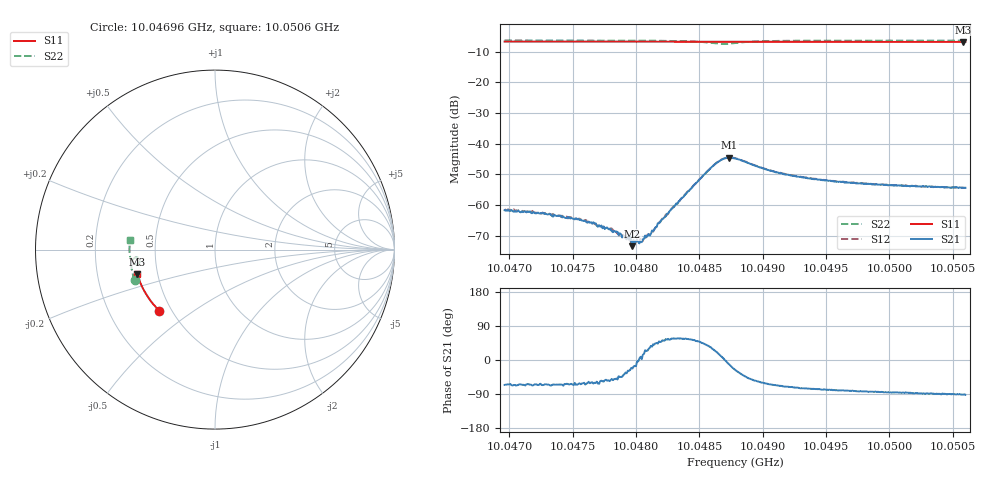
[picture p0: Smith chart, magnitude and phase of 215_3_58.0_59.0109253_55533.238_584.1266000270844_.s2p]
#  HZ  S  RI  R  50.00
! Rohde & Schwarz Vector Network Analyzer
! Rohde-Schwarz,ZNB20-2Port,1311601062101988,3.16
! Created: UTC 3/21/2024, 12:59:55 AM
! freq[Hz]  re:S11  im:S11  re:S21  im:S21  re:S12  im:S12  re:S22  im:S22
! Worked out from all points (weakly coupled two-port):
!   401 points, 10.04696 GHz to 10.0506 GHz, reference 50 ohm
!   highest |S21| = -44.51 dB at 10.04874 GHz (marker M1); lowest = -73.4 dB at 10.04797 GHz (marker M2)
!   lowest |S11| = -6.9 dB at 10.05058 GHz (marker M3), VSWR 2.66, Z = 19.2 - j6.67 ohm
!   |S11| at or under -10 dB: nowhere
!   |S22| runs from -7.5 to -6.4 dB; largest |S21 - S12| = 0.0004
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1.0046962e10  -0.3106 -0.3403  0.000339 -0.000752  0.000434 -0.000744  -0.4477 -0.1717
1.0047271e10  -0.3249 -0.3256  0.000307 -0.000678  0.000359 -0.000631  -0.4543 -0.1514
1.0047571e10  -0.3381 -0.3107  0.000261 -0.000497  0.000306 -0.000492  -0.4598 -0.1309
1.0047662e10  -0.3422 -0.3062  0.000247 -0.000463  0.000259 -0.000438  -0.4612 -0.1244
1.0047799e10  -0.3478 -0.2991  0.000243 -0.000324  0.000272 -0.000319  -0.4631 -0.1145
1.0047872e10  -0.3508 -0.2954  0.000246 -0.000247  0.00023 -0.000209  -0.4638 -0.1089
1.0047972e10  -0.355 -0.2901  0.000198 -8.23e-05  0.000264 -5.96e-05  -0.465 -0.1012
1.0047981e10  -0.3554 -0.2897  0.000257 -7.96e-05  0.000239 -5.21e-05  -0.465 -0.1005
1.0048044e10  -0.3579 -0.2863  0.000249 1.04e-05  0.000259 4.09e-05  -0.4655 -0.0954
1.0048126e10  -0.3611 -0.282  0.000314 0.000224  0.000279 0.000234  -0.4658 -0.0883
1.0048181e10  -0.3632 -0.2791  0.000335 0.000384  0.000325 0.000407  -0.466 -0.0835
1.004839e10  -0.3712 -0.2676  0.000825 0.00125  0.000743 0.00131  -0.4617 -0.0622
1.0048599e10  -0.3784 -0.2561  0.00361 0.00213  0.00349 0.00236  -0.4355 -0.0442
1.0048672e10  -0.3808 -0.252  0.00538 0.000917  0.00534 0.00124  -0.4206 -0.0537
1.0048735e10  -0.3829 -0.2488  0.00583 -0.0012  0.00588 -0.000865  -0.4201 -0.0707
1.0048781e10  -0.3845 -0.2463  0.00518 -0.00251  0.0054 -0.00219  -0.4277 -0.0794
1.004909e10  -0.3949 -0.2288  0.00142 -0.0032  0.00163 -0.00314  -0.4669 -0.0607
1.004939e10  -0.4041 -0.2112  0.000629 -0.00258  0.000793 -0.00258  -0.4742 -0.0343
1.004969e10  -0.4125 -0.1934  0.00035 -0.00226  0.000488 -0.00228  -0.4762 -0.0111
1.0049999e10  -0.4203 -0.1745  0.000149 -0.00211  0.000292 -0.00212  -0.4763 0.0112
1.0050581e10  -0.4325 -0.1382  -5.55e-05 -0.00192  6.39e-05 -0.00193  -0.4736 0.051
1.0050599e10  -0.433 -0.1371  -5.31e-05 -0.00191  7.19e-05 -0.00191  -0.4736 0.0522
